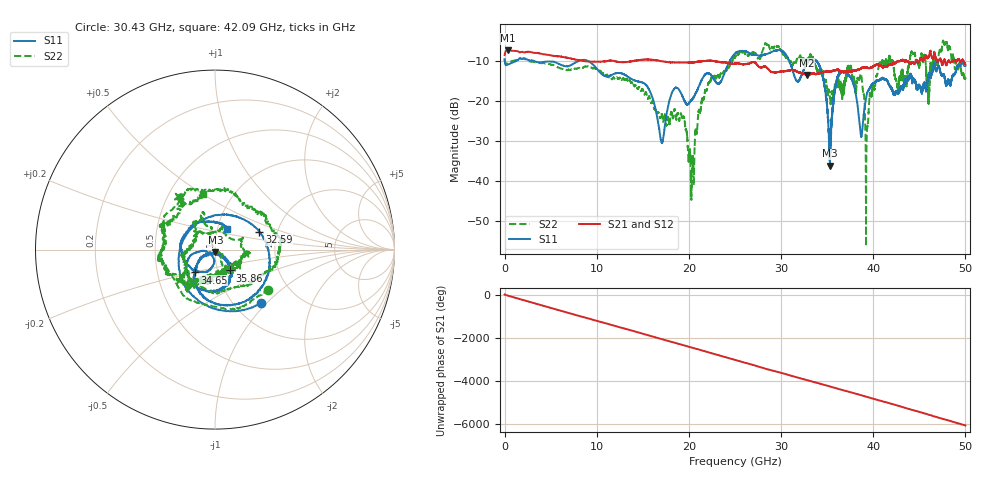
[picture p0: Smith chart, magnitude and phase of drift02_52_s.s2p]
!Created with skrf (http://scikit-rf.org).
# Hz S RI R 50.0
!freq ReS11 ImS11 ReS21 ImS21 ReS12 ImS12 ReS22 ImS22
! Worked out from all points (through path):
!   10001 points, 300 kHz to 50 GHz, reference 50 ohm
!   highest |S21| = -7.31 dB at 375.3 MHz (marker M1); lowest = -13.5 dB at 32.77 GHz (marker M2)
!   group delay of S21, straight-line fit = 335 ps
!   lowest |S11| = -36.2 dB at 35.31 GHz (marker M3), VSWR 1.03, Z = 50.2 - j1.55 ohm
!   |S11| at or under -10 dB: 3.228 GHz to 8 GHz (4.773 GHz wide, 85 % of centre); 9.106 GHz to 24.41 GHz (15.31 GHz wide, 91.3 % of centre); 33.85 GHz to 49.6 GHz (15.75 GHz wide, 37.8 % of centre) (the widest 3 of 10)
!   |S22| runs from -56.3 to -4.8 dB; largest |S21 - S12| = 0.017
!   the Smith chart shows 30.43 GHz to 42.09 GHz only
!   S11 on the Smith chart (normalised r, x): 30.43 GHz: 1.32, -0.93; 32.59 GHz: 1.61, +0.34; 34.65 GHz: 0.77, -0.20; 35.86 GHz: 1.14, -0.27; 42.09 GHz: 1.11, +0.26
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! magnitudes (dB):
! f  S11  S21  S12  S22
! 300 kHz  -9.5  -8.5  -8.4  -9.4
! 375.3 MHz  -10.8  -7.3  -7.3  -10.5
! 8.335 GHz  -9.7  -9.9  -9.9  -11.6
! 16.67 GHz  -25.5  -9.9  -9.9  -22.8
! 19.3 GHz  -18.9  -10.3  -10.4  -24.4
! 20.37 GHz  -19.5  -10.4  -10.3  -34.3
! 21.94 GHz  -13.1  -9.9  -9.9  -17.2
! 25 GHz  -8.1  -10.6  -10.6  -9.0
! 30.43 GHz  -8.1  -12.5  -12.5  -8.6
! 32.59 GHz  -11.5  -13.2  -13.3  -10.1
! 32.77 GHz  -10.8  -13.5  -13.5  -9.9
! 33.34 GHz  -9.6  -13.1  -13.2  -9.0
! 34.65 GHz  -15.3  -12.7  -12.6  -14.4
! 35.31 GHz  -36.2  -12.5  -12.5  -19.0
! 35.86 GHz  -17.0  -12.3  -12.3  -15.4
! 37.46 GHz  -13.8  -12.6  -12.6  -12.2
! 38.56 GHz  -26.2  -12.0  -11.9  -13.9
! 39.32 GHz  -18.2  -11.6  -11.6  -27.4
! 41.67 GHz  -15.7  -10.9  -11.1  -9.6
! 42.09 GHz  -17.5  -10.6  -10.6  -10.0
! 47.76 GHz  -14.4  -9.7  -9.7  -5.6
! 50 GHz  -11.1  -10.8  -10.8  -14.3
